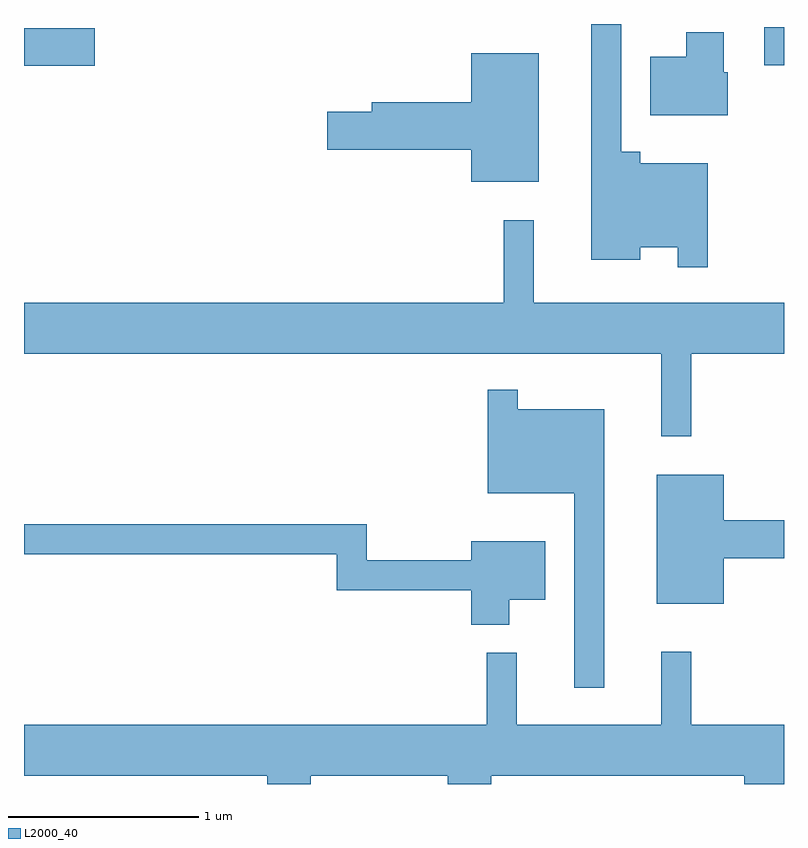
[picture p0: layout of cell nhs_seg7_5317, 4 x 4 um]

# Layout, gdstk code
import gdstk
lib = gdstk.Library(unit=1e-6, precision=1e-09)
def R(c, l, rs):  # rectangles x0, y0, x1, y1
    for r in rs: c.add(gdstk.rectangle(r[:2], r[2:], *l))
def P(c, l, *ps):  # polygons
    for p in ps: c.add(gdstk.Polygon(p, *l))
L2000_40 = (2000, 40)

nhs_seg7_5317 = lib.new_cell('nhs_seg7_5317')
R(nhs_seg7_5317, L2000_40, [(347.611,1738.031,347.984,1738.229), (351.506,1738.036,351.611,1738.234)])
P(nhs_seg7_5317, L2000_40, [(351.209,1737.519),(350.854,1737.519),(350.854,1737.579),(350.754,1737.579),(350.754,1738.252),(350.596,1738.252),(350.596,1737.011),(350.854,1737.011),(350.854,1737.076),(351.051,1737.076),(351.051,1736.973),(351.209,1736.973)],
  [(351.314,1737.999),(351.294,1737.999),(351.294,1738.209),(351.096,1738.209),(351.096,1738.079),(350.906,1738.079),(350.906,1737.771),(351.314,1737.771)],
  [(350.319,1738.099),(349.966,1738.099),(349.966,1737.839),(349.441,1737.839),(349.441,1737.789),(349.206,1737.789),(349.206,1737.591),(349.966,1737.591),(349.966,1737.421),(350.319,1737.421)],
  [(351.124,1736.516),(351.611,1736.516),(351.611,1736.784),(350.294,1736.784),(350.294,1737.218),(350.136,1737.218),(350.136,1736.784),(347.611,1736.784),(347.611,1736.516),(350.966,1736.516),(350.966,1736.083),(351.124,1736.083)],
  [(350.664,1736.224),(350.209,1736.224),(350.209,1736.328),(350.051,1736.328),(350.051,1735.781),(350.506,1735.781),(350.506,1734.758),(350.664,1734.758)],
  [(351.294,1735.441),(351.611,1735.441),(351.611,1735.639),(351.294,1735.639),(351.294,1735.879),(350.941,1735.879),(350.941,1735.201),(351.294,1735.201)],
  [(350.164,1735.221),(350.354,1735.221),(350.354,1735.529),(349.966,1735.529),(349.966,1735.429),(349.414,1735.429),(349.414,1735.619),(347.611,1735.619),(347.611,1735.461),(349.256,1735.461),(349.256,1735.271),(349.966,1735.271),(349.966,1735.091),(350.164,1735.091)],
  [(349.119,1734.296),(349.841,1734.296),(349.841,1734.252),(350.069,1734.252),(350.069,1734.296),(351.401,1734.296),(351.401,1734.252),(351.611,1734.252),(351.611,1734.564),(351.124,1734.564),(351.124,1734.948),(350.966,1734.948),(350.966,1734.564),(350.204,1734.564),(350.204,1734.943),(350.046,1734.943),(350.046,1734.564),(347.611,1734.564),(347.611,1734.296),(348.891,1734.296),(348.891,1734.252),(349.119,1734.252)])

lib.write_gds('nhs_seg7_5317.gds')
